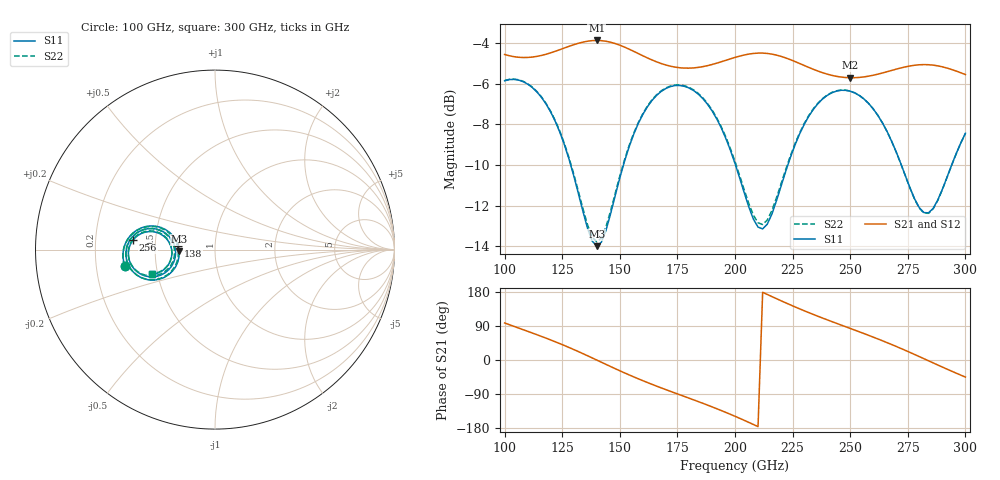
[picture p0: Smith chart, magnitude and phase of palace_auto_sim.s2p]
#  GHZ S DB R 50
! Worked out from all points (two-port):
!   101 points, 100 GHz to 300 GHz, reference 50 ohm
!   highest |S21| = -3.86 dB at 140 GHz (marker M1); lowest = -5.7 dB at 250 GHz (marker M2)
!   |S21| within 3 dB of the highest: start of sweep to end of sweep
!   lowest |S11| = -14.0 dB at 140 GHz (marker M3), VSWR 1.50, Z = 33.4 - j0.65 ohm
!   |S11| at or under -10 dB: 128.7 GHz to 151.6 GHz (22.9 GHz wide, 16.3 % of centre); 200.2 GHz to 222.9 GHz (22.72 GHz wide, 10.7 % of centre); 272.2 GHz to 294 GHz (21.84 GHz wide, 7.71 % of centre)
!   |S22| runs from -13.8 to -5.8 dB; largest |S21 - S12| = 6.8e-14
!   S11 on the Smith chart (normalised r, x): 100 GHz: 0.33, -0.08; 138 GHz: 0.66, +0.03; 256 GHz: 0.37, +0.05; 300 GHz: 0.46, -0.15
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100  -5.85 -169.6  -4.55 97.7  -4.55 97.7  -5.84 -169.4
108  -5.89 178.9  -4.70 80.1  -4.70 80.1  -5.87 179.2
118  -7.00 165.8  -4.54 57.6  -4.54 57.6  -6.97 166.2
126  -9.02 158.4  -4.23 38.1  -4.23 38.1  -8.96 159.0
134  -12.29 162.3  -3.94 16.8  -3.94 16.8  -12.15 163.0
138  -13.74 174.3  -3.87 5.5  -3.87 5.5  -13.55 174.6
140  -14.00 -177.3  -3.86 -0.2  -3.86 -0.2  -13.79 -177.3
146  -12.40 -156.3  -3.95 -17.2  -3.95 -17.2  -12.26 -156.9
154  -9.12 -151.9  -4.29 -39.2  -4.29 -39.2  -9.06 -152.4
168  -6.37 -166.7  -5.00 -73.6  -5.00 -73.6  -6.34 -167.0
186  -6.72 170.5  -5.15 -114.2  -5.15 -114.2  -6.68 170.5
200  -9.92 160.5  -4.70 -148.5  -4.70 -148.5  -9.83 160.9
212  -13.15 -175.5  -4.48 178.6  -4.48 178.6  -12.93 -176.0
224  -9.64 -154.8  -4.81 145.5  -4.81 145.5  -9.56 -155.8
234  -7.26 -161.4  -5.28 120.2  -5.28 120.2  -7.23 -162.3
250  -6.36 -179.9  -5.70 83.4  -5.70 83.4  -6.35 179.4
256  -6.75 173.4  -5.66 69.7  -5.66 69.7  -6.75 172.7
268  -8.83 163.9  -5.34 40.8  -5.34 40.8  -8.84 163.3
276  -11.14 167.3  -5.12 19.9  -5.12 19.9  -11.15 166.7
284  -12.36 -174.5  -5.06 -2.1  -5.06 -2.1  -12.38 -175.0
292  -10.61 -159.3  -5.22 -24.0  -5.22 -24.0  -10.62 -159.8
300  -8.44 -158.8  -5.54 -45.0  -5.54 -45.0  -8.45 -159.2
